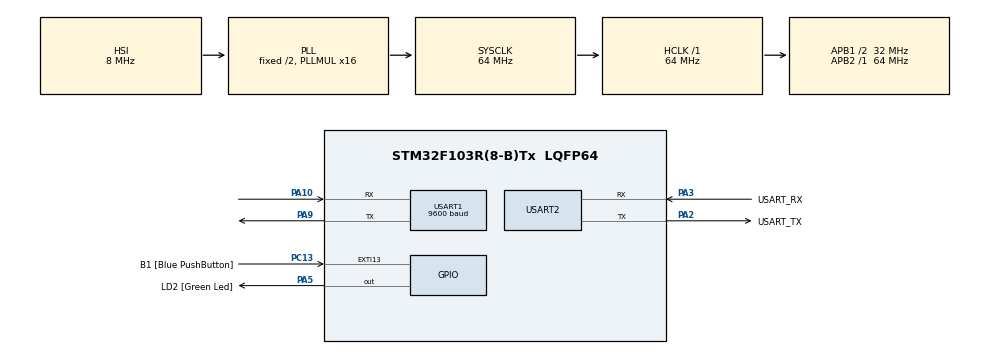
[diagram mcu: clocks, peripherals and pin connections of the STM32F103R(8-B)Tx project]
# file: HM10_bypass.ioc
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Mcu.Family=STM32F1
Mcu.Name=STM32F103R(8-B)Tx
Mcu.Package=LQFP64
NVIC.EXTI15_10_IRQn=true\:0\:0\:false\:false\:true\:true\:true
NVIC.PriorityGroup=NVIC_PRIORITYGROUP_4
NVIC.USART1_IRQn=true\:0\:0\:false\:false\:true\:true\:false
NVIC.USART2_IRQn=true\:0\:0\:false\:false\:true\:true\:false
PA10.Mode=Asynchronous
PA10.Signal=USART1_RX
PA13.GPIO_Label=TMS
PA13.Mode=Serial_Wire
PA13.Signal=SYS_JTMS-SWDIO
PA14.GPIO_Label=TCK
PA14.Mode=Serial_Wire
PA14.Signal=SYS_JTCK-SWCLK
PA2.GPIO_Label=USART_TX
PA2.GPIO_Mode=GPIO_MODE_AF_PP
PA2.GPIO_PuPd=GPIO_NOPULL
PA2.GPIO_Speed=GPIO_SPEED_FREQ_LOW
PA2.Mode=Asynchronous
PA2.Signal=USART2_TX
PA3.GPIO_Label=USART_RX
PA3.GPIO_Mode=GPIO_MODE_AF_PP
PA3.GPIO_PuPd=GPIO_NOPULL
PA3.GPIO_Speed=GPIO_SPEED_FREQ_LOW
PA3.Mode=Asynchronous
PA3.Signal=USART2_RX
PA5.GPIO_Label=LD2 [Green Led]
PA5.GPIO_ModeDefaultOutputPP=GPIO_MODE_OUTPUT_PP
PA5.GPIO_PuPd=GPIO_NOPULL
PA5.GPIO_Speed=GPIO_SPEED_FREQ_LOW
PA5.Signal=GPIO_Output
PA9.Mode=Asynchronous
PA9.Signal=USART1_TX
PB3.GPIO_Label=SWO
PB3.Signal=SYS_JTDO-TRACESWO
PC13-TAMPER-RTC.GPIO_Label=B1 [Blue PushButton]
PC13-TAMPER-RTC.GPIO_PuPd=GPIO_NOPULL
PC13-TAMPER-RTC.Signal=GPXTI13
PC14-OSC32_IN.Signal=RCC_OSC32_IN
PC15-OSC32_OUT.Signal=RCC_OSC32_OUT
PD0-OSC_IN.Signal=RCC_OSC_IN
PD1-OSC_OUT.Signal=RCC_OSC_OUT
ProjectManager.HeapSize=0x200
ProjectManager.StackSize=0x400
ProjectManager.TargetToolchain=STM32CubeIDE
RCC.AHBFreq_Value=64000000
RCC.APB1CLKDivider=RCC_HCLK_DIV2
RCC.APB1Freq_Value=32000000
RCC.APB1TimFreq_Value=64000000
RCC.APB2Freq_Value=64000000
RCC.APB2TimFreq_Value=64000000
RCC.HCLKFreq_Value=64000000
RCC.PLLMUL=RCC_PLL_MUL16
RCC.RTCClockSelection=RCC_RTCCLKSOURCE_LSE
RCC.SYSCLKFreq_VALUE=64000000
RCC.SYSCLKSource=RCC_SYSCLKSOURCE_PLLCLK
RCC.USBFreq_Value=64000000
USART1.BaudRate=9600
USART1.VirtualMode=VM_ASYNC
USART2.VirtualMode=VM_ASYNC
board=NUCLEO-F103RB

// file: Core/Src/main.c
/* USER CODE BEGIN Header */
/**
  ******************************************************************************
  * @file           : main.c
  * @brief          : Main program body
  ******************************************************************************
  * @attention
  *
  * <h2><center>&copy; Copyright (c) 2020 STMicroelectronics.
  * All rights reserved.</center></h2>
  *
  * This software component is licensed by ST under BSD 3-Clause license,
  * the "License"; You may not use this file except in compliance with the
  * License. You may obtain a copy of the License at:
  *                        opensource.org/licenses/BSD-3-Clause
  *
  ******************************************************************************
  */
/* USER CODE END Header */
#include "main.h"

/* USER CODE BEGIN Includes */
#include <stdio.h>
#include "rb.h"
/* USER CODE END Includes */

UART_HandleTypeDef huart1;
UART_HandleTypeDef huart2;

/* USER CODE BEGIN PV */
RingFifo_t gUart1Fifo;
RingFifo_t gUart2Fifo;
/* USER CODE END PV */

void SystemClock_Config(void);
static void MX_GPIO_Init(void);
static void MX_USART2_UART_Init(void);
static void MX_USART1_UART_Init(void);

int main(void)
{

  /* MCU Configuration--------------------------------------------------------*/

  /* Reset of all peripherals, Initializes the Flash interface and the Systick. */
  HAL_Init();

  /* Configure the system clock */
  SystemClock_Config();

  /* Initialize all configured peripherals */
  MX_GPIO_Init();
  MX_USART2_UART_Init();
  MX_USART1_UART_Init();
  /* USER CODE BEGIN 2 */
  if (RB_init (&gUart1Fifo, 32))
    {
      Error_Handler ();
    }

  if (RB_init (&gUart2Fifo, 32))
    {
      Error_Handler ();
    }

  __HAL_UART_ENABLE_IT(&huart1, UART_IT_RXNE);
  __HAL_UART_ENABLE_IT(&huart2, UART_IT_RXNE);
  /* USER CODE END 2 */

  /* Infinite loop */
  /* USER CODE BEGIN WHILE */
  while (1)
  {
      uint8_t ch;

      // bypass to PC from HM-10
      if (!RB_isempty (&gUart1Fifo))
        {
          ch = RB_read (&gUart1Fifo);
          HAL_UART_Transmit (&huart2, &ch, 1, 0xFF);
        }

      // bypass to HM-10 from PC
      if (!RB_isempty (&gUart2Fifo))
        {
          ch = RB_read (&gUart2Fifo);
          HAL_UART_Transmit (&huart1, &ch, 1, 0xFF);
        }
    /* USER CODE END WHILE */

  }
}

void SystemClock_Config(void)
{
  RCC_OscInitTypeDef RCC_OscInitStruct = {0};
  RCC_ClkInitTypeDef RCC_ClkInitStruct = {0};

  /** Initializes the RCC Oscillators according to the specified parameters
  * in the RCC_OscInitTypeDef structure.
  */
  RCC_OscInitStruct.OscillatorType = RCC_OSCILLATORTYPE_HSI;
  RCC_OscInitStruct.HSIState = RCC_HSI_ON;
  RCC_OscInitStruct.HSICalibrationValue = RCC_HSICALIBRATION_DEFAULT;
  RCC_OscInitStruct.PLL.PLLState = RCC_PLL_ON;
  RCC_OscInitStruct.PLL.PLLSource = RCC_PLLSOURCE_HSI_DIV2;
  RCC_OscInitStruct.PLL.PLLMUL = RCC_PLL_MUL16;
  if (HAL_RCC_OscConfig(&RCC_OscInitStruct) != HAL_OK)
  {
    Error_Handler();
  }
  /** Initializes the CPU, AHB and APB buses clocks
  */
  RCC_ClkInitStruct.ClockType = RCC_CLOCKTYPE_HCLK|RCC_CLOCKTYPE_SYSCLK
                              |RCC_CLOCKTYPE_PCLK1|RCC_CLOCKTYPE_PCLK2;
  RCC_ClkInitStruct.SYSCLKSource = RCC_SYSCLKSOURCE_PLLCLK;
  RCC_ClkInitStruct.AHBCLKDivider = RCC_SYSCLK_DIV1;
  RCC_ClkInitStruct.APB1CLKDivider = RCC_HCLK_DIV2;
  RCC_ClkInitStruct.APB2CLKDivider = RCC_HCLK_DIV1;

  if (HAL_RCC_ClockConfig(&RCC_ClkInitStruct, FLASH_LATENCY_2) != HAL_OK)
  {
    Error_Handler();
  }
}

static void MX_USART1_UART_Init(void)
{

  huart1.Instance = USART1;
  huart1.Init.BaudRate = 9600;
  huart1.Init.WordLength = UART_WORDLENGTH_8B;
  huart1.Init.StopBits = UART_STOPBITS_1;
  huart1.Init.Parity = UART_PARITY_NONE;
  huart1.Init.Mode = UART_MODE_TX_RX;
  huart1.Init.HwFlowCtl = UART_HWCONTROL_NONE;
  huart1.Init.OverSampling = UART_OVERSAMPLING_16;
  if (HAL_UART_Init(&huart1) != HAL_OK)
  {
    Error_Handler();
  }

}

static void MX_USART2_UART_Init(void)
{

  huart2.Instance = USART2;
  huart2.Init.BaudRate = 115200;
  huart2.Init.WordLength = UART_WORDLENGTH_8B;
  huart2.Init.StopBits = UART_STOPBITS_1;
  huart2.Init.Parity = UART_PARITY_NONE;
  huart2.Init.Mode = UART_MODE_TX_RX;
  huart2.Init.HwFlowCtl = UART_HWCONTROL_NONE;
  huart2.Init.OverSampling = UART_OVERSAMPLING_16;
  if (HAL_UART_Init(&huart2) != HAL_OK)
  {
    Error_Handler();
  }

}

static void MX_GPIO_Init(void)
{
  GPIO_InitTypeDef GPIO_InitStruct = {0};

  /* GPIO Ports Clock Enable */
  __HAL_RCC_GPIOC_CLK_ENABLE();
  __HAL_RCC_GPIOD_CLK_ENABLE();
  __HAL_RCC_GPIOA_CLK_ENABLE();
  __HAL_RCC_GPIOB_CLK_ENABLE();

  /*Configure GPIO pin Output Level */
  HAL_GPIO_WritePin(LD2_GPIO_Port, LD2_Pin, GPIO_PIN_RESET);

  /*Configure GPIO pin : B1_Pin */
  GPIO_InitStruct.Pin = B1_Pin;
  GPIO_InitStruct.Mode = GPIO_MODE_IT_RISING;
  GPIO_InitStruct.Pull = GPIO_NOPULL;
  HAL_GPIO_Init(B1_GPIO_Port, &GPIO_InitStruct);

  /*Configure GPIO pin : LD2_Pin */
  GPIO_InitStruct.Pin = LD2_Pin;
  GPIO_InitStruct.Mode = GPIO_MODE_OUTPUT_PP;
  GPIO_InitStruct.Pull = GPIO_NOPULL;
  GPIO_InitStruct.Speed = GPIO_SPEED_FREQ_LOW;
  HAL_GPIO_Init(LD2_GPIO_Port, &GPIO_InitStruct);

  /* EXTI interrupt init*/
  HAL_NVIC_SetPriority(EXTI15_10_IRQn, 0, 0);
  HAL_NVIC_EnableIRQ(EXTI15_10_IRQn);

}

/* USER CODE BEGIN 4 */
void
HAL_UART_RxCpltCallback (UART_HandleTypeDef *UartHandle)
{
  uint8_t rx;

  if (UartHandle->Instance == USART1)
    {
      rx = (uint8_t) (UartHandle->Instance->DR & (uint8_t) 0x00FF);
      RB_write (&gUart1Fifo, rx);
    }

  if (UartHandle->Instance == USART2)
    {
      rx = (uint8_t) (UartHandle->Instance->DR & (uint8_t) 0x00FF);
      RB_write (&gUart2Fifo, rx);
    }

}
/* USER CODE END 4 */

void Error_Handler(void)
{
  /* USER CODE BEGIN Error_Handler_Debug */
  /* User can add his own implementation to report the HAL error return state */
  while(1)
  {
    HAL_GPIO_TogglePin(LD2_GPIO_Port, LD2_Pin);
    HAL_Delay(50);
  }
  /* USER CODE END Error_Handler_Debug */
}

/************************ (C) COPYRIGHT STMicroelectronics *****END OF FILE****/
